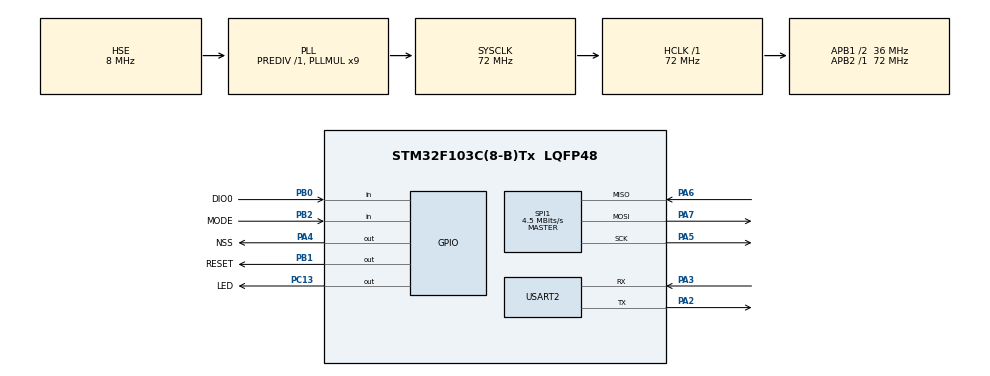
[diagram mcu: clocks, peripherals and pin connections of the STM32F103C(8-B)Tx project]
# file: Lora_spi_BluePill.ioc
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Mcu.Family=STM32F1
Mcu.Name=STM32F103C(8-B)Tx
Mcu.Package=LQFP48
NVIC.PriorityGroup=NVIC_PRIORITYGROUP_4
PA13.Mode=Trace_Asynchronous_SW
PA13.Signal=SYS_JTMS-SWDIO
PA14.Mode=Trace_Asynchronous_SW
PA14.Signal=SYS_JTCK-SWCLK
PA2.Mode=Asynchronous
PA2.Signal=USART2_TX
PA3.Mode=Asynchronous
PA3.Signal=USART2_RX
PA4.GPIO_Label=NSS
PA4.PinState=GPIO_PIN_SET
PA4.Signal=GPIO_Output
PA5.Mode=Full_Duplex_Master
PA5.Signal=SPI1_SCK
PA6.Mode=Full_Duplex_Master
PA6.Signal=SPI1_MISO
PA7.Mode=Full_Duplex_Master
PA7.Signal=SPI1_MOSI
PB0.GPIO_Label=DIO0
PB0.Signal=GPIO_Input
PB1.GPIO_Label=RESET
PB1.Signal=GPIO_Output
PB2.GPIO_Label=MODE
PB2.Signal=GPIO_Input
PB3.Mode=Trace_Asynchronous_SW
PB3.Signal=SYS_JTDO-TRACESWO
PC13-TAMPER-RTC.GPIO_Label=LED
PC13-TAMPER-RTC.GPIO_PuPd=GPIO_PULLDOWN
PC13-TAMPER-RTC.Signal=GPIO_Output
PD0-OSC_IN.Mode=HSE-External-Oscillator
PD0-OSC_IN.Signal=RCC_OSC_IN
PD1-OSC_OUT.Mode=HSE-External-Oscillator
PD1-OSC_OUT.Signal=RCC_OSC_OUT
ProjectManager.HeapSize=0x200
ProjectManager.StackSize=0x400
ProjectManager.TargetToolchain=STM32CubeIDE
RCC.AHBFreq_Value=72000000
RCC.APB1CLKDivider=RCC_HCLK_DIV2
RCC.APB1Freq_Value=36000000
RCC.APB1TimFreq_Value=72000000
RCC.APB2Freq_Value=72000000
RCC.APB2TimFreq_Value=72000000
RCC.HCLKFreq_Value=72000000
RCC.PLLMUL=RCC_PLL_MUL9
RCC.PLLSourceVirtual=RCC_PLLSOURCE_HSE
RCC.SYSCLKFreq_VALUE=72000000
RCC.SYSCLKSource=RCC_SYSCLKSOURCE_PLLCLK
RCC.USBFreq_Value=72000000
SPI1.BaudRatePrescaler=SPI_BAUDRATEPRESCALER_16
SPI1.CalculateBaudRate=4.5 MBits/s
SPI1.Direction=SPI_DIRECTION_2LINES
SPI1.Mode=SPI_MODE_MASTER
SPI1.VirtualType=VM_MASTER
USART2.VirtualMode=VM_ASYNC
board=custom

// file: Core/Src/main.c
/* USER CODE BEGIN Header */
/**
  ******************************************************************************
  * @file           : main.c
  * @brief          : Main program body
  ******************************************************************************
  * @attention
  *
  * Copyright (c) 2021 STMicroelectronics.
  * All rights reserved.
  *
  * This software is licensed under terms that can be found in the LICENSE file
  * in the root directory of this software component.
  * If no LICENSE file comes with this software, it is provided AS-IS.
  *
  ******************************************************************************
  */
/* USER CODE END Header */
#include "main.h"
#include "spi.h"
#include "usart.h"
#include "gpio.h"

/* USER CODE BEGIN Includes */
#include <stdio.h>
#include "SX1278.h"
/* USER CODE END Includes */

void SystemClock_Config(void);
/* USER CODE BEGIN PFP */
int _write(int file, char *ptr, int len) {
	int i;
	HAL_UART_Transmit(&huart2, (uint8_t*) ptr, len, 50);
	for (i = 0; i < len; i++) {
		ITM_SendChar(*ptr++);
	}
	return len;
}
/* USER CODE END PFP */

/* USER CODE BEGIN 0 */
SX1278_hw_t SX1278_hw;
SX1278_t SX1278;

int master = 0;
int ret;

char buffer[512];

int message;
int message_length;
/* USER CODE END 0 */

int main(void)
{

  /* MCU Configuration--------------------------------------------------------*/

  /* Reset of all peripherals, Initializes the Flash interface and the Systick. */
  HAL_Init();

  /* Configure the system clock */
  SystemClock_Config();

  /* Initialize all configured peripherals */
  MX_GPIO_Init();
  MX_SPI1_Init();
  MX_USART2_UART_Init();
  /* USER CODE BEGIN 2 */
  //master = HAL_GPIO_ReadPin(MODE_GPIO_Port, MODE_Pin);
  	if (master == 1) {
  		printf("Mode: Master-BluePill\r\n");
  		//HAL_GPIO_WritePin(MODE_GPIO_Port, MODE_Pin, GPIO_PIN_RESET);
  	} else {
  		printf("Mode: Slave-BluePill\r\n");
  		//HAL_GPIO_WritePin(MODE_GPIO_Port, MODE_Pin, GPIO_PIN_SET);
  	}

  	//initialize LoRa module
  	SX1278_hw.dio0.port = DIO0_GPIO_Port;
  	SX1278_hw.dio0.pin = DIO0_Pin;
  	SX1278_hw.nss.port = NSS_GPIO_Port;
  	SX1278_hw.nss.pin = NSS_Pin;
  	SX1278_hw.reset.port = RESET_GPIO_Port;
  	SX1278_hw.reset.pin = RESET_Pin;
  	SX1278_hw.spi = &hspi1;

  	SX1278.hw = &SX1278_hw;

  	printf("Configuring LoRa module\r\n");
  	SX1278_init(&SX1278, 868000000, SX1278_POWER_17DBM, SX1278_LORA_SF_7,
  	SX1278_LORA_BW_125KHZ, SX1278_LORA_CR_4_5, SX1278_LORA_CRC_EN, 10);
  	printf("Done configuring LoRaModule\r\n");

  	if (master == 1) {
  		ret = SX1278_LoRaEntryTx(&SX1278, 16, 2000);
  		//HAL_GPIO_WritePin(LED_GPIO_Port, LED_Pin, GPIO_PIN_SET);
  	} else {
  		ret = SX1278_LoRaEntryRx(&SX1278, 16, 2000);
  		//HAL_GPIO_WritePin(LED_GPIO_Port, LED_Pin, GPIO_PIN_RESET);
  	}

  /* USER CODE END 2 */

  /* Infinite loop */
  /* USER CODE BEGIN WHILE */
  while (1)
  {
  		if (master == 1) {
  				printf("Master-BluePill...\r\n");
  				HAL_Delay(1000);
  				//printf("Sending package...\r\n");
  				message_length = sprintf(buffer, "Hello from - BluePill %d", message);
  				ret = SX1278_LoRaEntryTx(&SX1278, message_length, 2000);
  				//printf("Entry: %d\r\n", ret);
  				//printf("Sending %s\r\n", buffer);
  				ret = SX1278_LoRaTxPacket(&SX1278, (uint8_t*) buffer,message_length, 2000);
  				message += 1;
  				//printf("Transmission: %d\r\n", ret);
  				//printf("Package sent...\r\n");

  			} else {
  				printf("Slave-BluePill...\r\n");
  				HAL_Delay(800);
  				//printf("Receiving package...\r\n");
  				ret = SX1278_LoRaRxPacket(&SX1278);
  				//printf("Received: %d\r\n", ret);
  				if (ret > 0) {
  					SX1278_read(&SX1278, (uint8_t*) buffer, ret);
  					printf("Content from-407 (%d): %s\r\n", ret, buffer);
  	  				if (*buffer == '1'){
  	  				printf("WE GET --- 1\r\n");
  	  				HAL_GPIO_WritePin(LED_GPIO_Port, LED_Pin, GPIO_PIN_RESET);

  	  				} else if(*buffer == '0') {
  	  				printf("WE GET --- 0\r\n");
  	  				HAL_GPIO_WritePin(LED_GPIO_Port, LED_Pin, GPIO_PIN_SET);

  	  				} else{
  	  				printf("ZZZZZZZZZZZZ\r\n");
  	  				}
  				}
  				//printf("Package received ...\r\n");
  			}

  			//change mode
  			//if (GPIO_PIN_RESET == HAL_GPIO_ReadPin(MODE_GPIO_Port, MODE_Pin)) {
  				printf("Changing mode\r\n");
  				//master = ~master & 0x01;
  				if (master == 1) {
  					ret = SX1278_LoRaEntryTx(&SX1278, 16, 2000);
  					//HAL_GPIO_WritePin(LED_GPIO_Port, LED_Pin, GPIO_PIN_SET);
  				} else {
  					ret = SX1278_LoRaEntryRx(&SX1278, 16, 2000);
  					//HAL_GPIO_WritePin(LED_GPIO_Port, LED_Pin, GPIO_PIN_RESET);
  				}
  				HAL_Delay(1000);
  				//while (GPIO_PIN_RESET == HAL_GPIO_ReadPin(MODE_GPIO_Port, MODE_Pin));
    /* USER CODE END WHILE */

  }
}

void SystemClock_Config(void)
{
  RCC_OscInitTypeDef RCC_OscInitStruct = {0};
  RCC_ClkInitTypeDef RCC_ClkInitStruct = {0};

  /** Initializes the RCC Oscillators according to the specified parameters
  * in the RCC_OscInitTypeDef structure.
  */
  RCC_OscInitStruct.OscillatorType = RCC_OSCILLATORTYPE_HSE;
  RCC_OscInitStruct.HSEState = RCC_HSE_ON;
  RCC_OscInitStruct.HSEPredivValue = RCC_HSE_PREDIV_DIV1;
  RCC_OscInitStruct.HSIState = RCC_HSI_ON;
  RCC_OscInitStruct.PLL.PLLState = RCC_PLL_ON;
  RCC_OscInitStruct.PLL.PLLSource = RCC_PLLSOURCE_HSE;
  RCC_OscInitStruct.PLL.PLLMUL = RCC_PLL_MUL9;
  if (HAL_RCC_OscConfig(&RCC_OscInitStruct) != HAL_OK)
  {
    Error_Handler();
  }
  /** Initializes the CPU, AHB and APB buses clocks
  */
  RCC_ClkInitStruct.ClockType = RCC_CLOCKTYPE_HCLK|RCC_CLOCKTYPE_SYSCLK
                              |RCC_CLOCKTYPE_PCLK1|RCC_CLOCKTYPE_PCLK2;
  RCC_ClkInitStruct.SYSCLKSource = RCC_SYSCLKSOURCE_PLLCLK;
  RCC_ClkInitStruct.AHBCLKDivider = RCC_SYSCLK_DIV1;
  RCC_ClkInitStruct.APB1CLKDivider = RCC_HCLK_DIV2;
  RCC_ClkInitStruct.APB2CLKDivider = RCC_HCLK_DIV1;

  if (HAL_RCC_ClockConfig(&RCC_ClkInitStruct, FLASH_LATENCY_2) != HAL_OK)
  {
    Error_Handler();
  }
}

void Error_Handler(void)
{
  __disable_irq();
  while (1)
  {
  }
}
